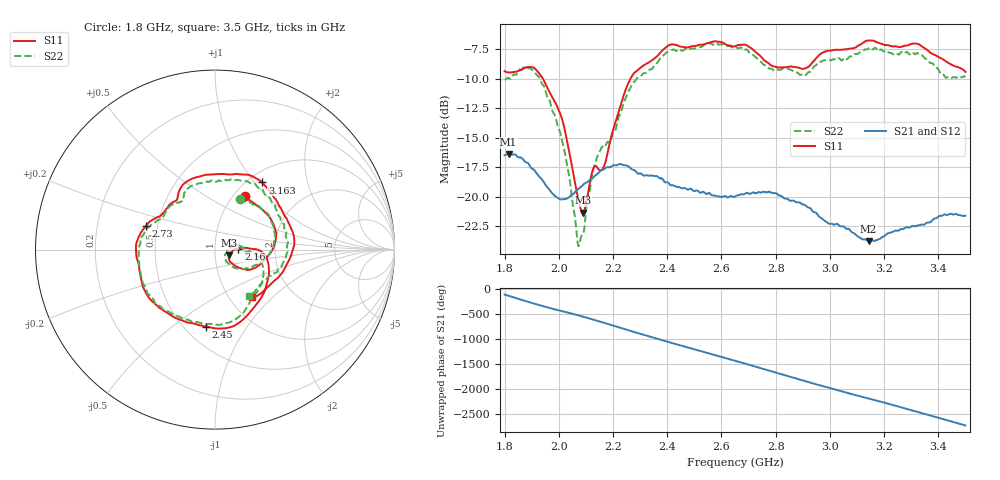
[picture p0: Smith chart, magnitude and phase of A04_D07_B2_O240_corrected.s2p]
! Created with skrf 1.9.0 (http://scikit-rf.org).
# Hz S RI R 50.0
!freq ReS11 ImS11 ReS21 ImS21 ReS12 ImS12 ReS22 ImS22
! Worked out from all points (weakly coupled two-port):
!   1601 points, 1.8 GHz to 3.5 GHz, reference 50 ohm
!   highest |S21| = -16.38 dB at 1.815 GHz (marker M1); lowest = -23.7 dB at 3.143 GHz (marker M2)
!   lowest |S11| = -21.3 dB at 2.089 GHz (marker M3), VSWR 1.19, Z = 58.5 - j3.76 ohm
!   |S11| at or under -10 dB: 1.941 GHz to 2.264 GHz (323.1 MHz wide, 15.4 % of centre)
!   |S22| runs from -24.2 to -7.0 dB; largest |S21 - S12| = 0.0029
!   S11 on the Smith chart (normalised r, x): 1.8 GHz: 1.13, +0.76; 2.16 GHz: 1.30, +0.01; 2.45 GHz: 0.63, -0.66; 2.73 GHz: 0.43, +0.14; 3.163 GHz: 1.16, +1.10; 3.5 GHz: 1.27, -0.76
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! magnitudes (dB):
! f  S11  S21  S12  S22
! 1.8 GHz  -9.4  -16.5  -16.5  -10.0
! 1.815 GHz  -9.5  -16.4  -16.4  -9.9
! 1.88 GHz  -9.0  -17.1  -17.1  -9.1
! 1.943 GHz  -10.1  -18.7  -18.7  -10.6
! 2.013 GHz  -13.5  -20.2  -20.2  -15.3
! 2.069 GHz  -19.8  -19.4  -19.4  -23.8
! 2.084 GHz  -21.2  -19.1  -19.1  -23.3
! 2.089 GHz  -21.3  -19.0  -19.0  -23.1
! 2.127 GHz  -17.6  -18.3  -18.3  -17.7
! 2.16 GHz  -17.7  -17.7  -17.7  -15.8
! 2.261 GHz  -10.2  -17.5  -17.5  -10.9
! 2.367 GHz  -8.0  -18.3  -18.3  -8.5
! 2.45 GHz  -7.3  -19.2  -19.2  -7.6
! 2.65 GHz  -7.3  -20.0  -19.9  -7.3
! 2.73 GHz  -7.8  -19.7  -19.7  -8.3
! 2.805 GHz  -9.0  -19.7  -19.8  -9.2
! 2.934 GHz  -8.7  -21.1  -21.1  -9.2
! 3.143 GHz  -6.8  -23.7  -23.7  -7.4
! 3.163 GHz  -6.8  -23.7  -23.7  -7.4
! 3.217 GHz  -7.2  -23.0  -23.0  -7.8
! 3.326 GHz  -7.1  -22.4  -22.4  -7.9
! 3.5 GHz  -9.4  -21.6  -21.6  -9.9
